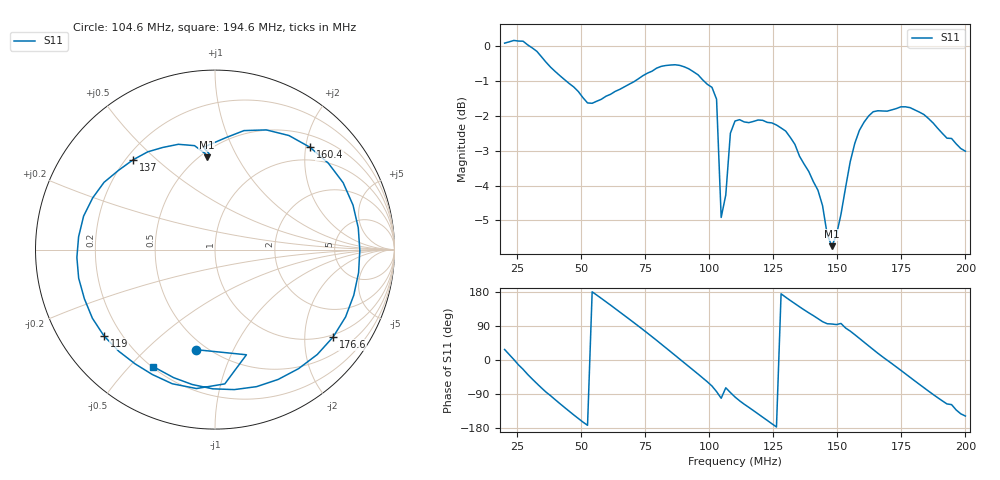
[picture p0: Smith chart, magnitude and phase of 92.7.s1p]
# HZ S RI R 50
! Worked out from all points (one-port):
!   101 points, 20 MHz to 200 MHz, reference 50 ohm
!   lowest |S11| = -5.7 dB at 147.8 MHz (marker M1), VSWR 3.13, Z = 27 + j37.9 ohm
!   |S11| at or under -10 dB: nowhere
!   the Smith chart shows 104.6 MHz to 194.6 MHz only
!   S11 on the Smith chart (normalised r, x): 104.6 MHz: 0.44, -0.72; 119 MHz: 0.14, -0.34; 137 MHz: 0.23, +0.42; 160.4 MHz: 0.72, +2.09; 176.6 MHz: 0.93, -2.75; 194.6 MHz: 0.20, -0.59
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2e7  0.8943 0.4703
2.54e7  0.9927 -0.2234
3.26e7  0.4606 -0.8688
4.34e7  -0.5151 -0.7327
5.42e7  -0.8282 0.00274
6.5e7  -0.5162 0.697
7.58e7  0.2982 0.865
8.3e7  0.7953 0.4983
8.84e7  0.938 0.0378
9.38e7  0.8161 -0.4225
1.01e8  0.3177 -0.8132
1.028e8  0.0965 -0.8338
1.046e8  -0.1082 -0.5573
1.064e8  0.1751 -0.586
1.1e8  -0.1034 -0.7741
1.19e8  -0.6187 -0.4808
1.262e8  -0.7696 -0.0435
1.334e8  -0.6182 0.3748
1.37e8  -0.4563 0.5005
1.478e8  -0.045 0.5143
1.55e8  0.1615 0.663
1.604e8  0.5293 0.5701
1.676e8  0.7983 0.121
1.766e8  0.658 -0.4869
1.784e8  0.5698 -0.5845
1.856e8  0.1076 -0.78
1.946e8  -0.343 -0.6525
2e8  -0.5986 -0.3757
